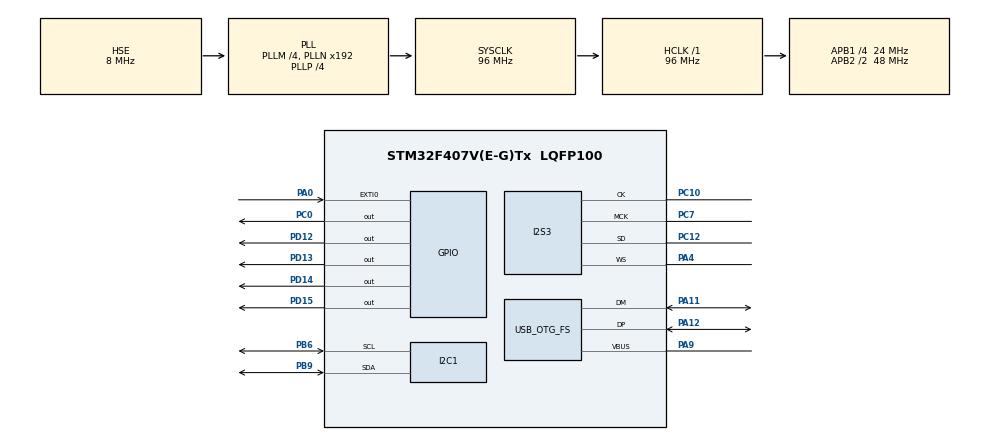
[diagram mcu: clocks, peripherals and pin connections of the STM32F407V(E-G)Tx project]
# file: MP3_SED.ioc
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Dma.Request0=SPI3_TX
Dma.SPI3_TX.0.Direction=DMA_MEMORY_TO_PERIPH
Dma.SPI3_TX.0.FIFOMode=DMA_FIFOMODE_ENABLE
Dma.SPI3_TX.0.FIFOThreshold=DMA_FIFO_THRESHOLD_FULL
Dma.SPI3_TX.0.Instance=DMA1_Stream5
Dma.SPI3_TX.0.MemBurst=DMA_MBURST_SINGLE
Dma.SPI3_TX.0.MemDataAlignment=DMA_MDATAALIGN_HALFWORD
Dma.SPI3_TX.0.MemInc=DMA_MINC_ENABLE
Dma.SPI3_TX.0.Mode=DMA_CIRCULAR
Dma.SPI3_TX.0.PeriphBurst=DMA_PBURST_SINGLE
Dma.SPI3_TX.0.PeriphDataAlignment=DMA_PDATAALIGN_HALFWORD
Dma.SPI3_TX.0.PeriphInc=DMA_PINC_DISABLE
Dma.SPI3_TX.0.Priority=DMA_PRIORITY_LOW
FATFS._USE_LFN=1
I2S3.AudioFreq=I2S_AUDIOFREQ_48K
I2S3.ErrorAudioFreq=0.15 %
I2S3.FullDuplexMode=I2S_FULLDUPLEXMODE_DISABLE
I2S3.Instance=SPI$Index
I2S3.RealAudioFreq=48.076 KHz
I2S3.VirtualMode=I2S_MODE_MASTER
Mcu.Family=STM32F4
Mcu.Name=STM32F407V(E-G)Tx
Mcu.Package=LQFP100
NVIC.DMA1_Stream5_IRQn=true\:0\:0\:false\:false\:true\:false\:true\:true
NVIC.EXTI0_IRQn=true\:0\:0\:false\:false\:true\:true\:true\:true
NVIC.OTG_FS_IRQn=true\:0\:0\:false\:false\:true\:true\:true\:true
NVIC.PriorityGroup=NVIC_PRIORITYGROUP_0
NVIC.TIM2_IRQn=true\:0\:0\:false\:false\:true\:true\:true\:true
PA0-WKUP.GPIO_PuPd=GPIO_PULLDOWN
PA0-WKUP.Signal=GPXTI0
PA11.Mode=Host_Only
PA11.Signal=USB_OTG_FS_DM
PA12.Mode=Host_Only
PA12.Signal=USB_OTG_FS_DP
PA4.Mode=Half_Duplex_Master
PA4.Signal=I2S3_WS
PA9.Mode=Activate_VBUS
PA9.Signal=USB_OTG_FS_VBUS
PB6.Mode=I2C
PB6.Signal=I2C1_SCL
PB9.Mode=I2C
PB9.Signal=I2C1_SDA
PC0.Signal=GPIO_Output
PC10.Mode=Half_Duplex_Master
PC10.Signal=I2S3_CK
PC12.Mode=Half_Duplex_Master
PC12.Signal=I2S3_SD
PC7.Mode=Master_Clock_Activated
PC7.Signal=I2S3_MCK
PD12.Signal=GPIO_Output
PD13.Signal=GPIO_Output
PD14.Signal=GPIO_Output
PD15.Signal=GPIO_Output
PH0-OSC_IN.Mode=HSE-External-Oscillator
PH0-OSC_IN.Signal=RCC_OSC_IN
PH1-OSC_OUT.Mode=HSE-External-Oscillator
PH1-OSC_OUT.Signal=RCC_OSC_OUT
ProjectManager.HeapSize=0x200
ProjectManager.StackSize=0x400
ProjectManager.TargetToolchain=STM32CubeIDE
RCC.48MHZClocksFreq_Value=48000000
RCC.AHBFreq_Value=96000000
RCC.APB1CLKDivider=RCC_HCLK_DIV4
RCC.APB1Freq_Value=24000000
RCC.APB1TimFreq_Value=48000000
RCC.APB2CLKDivider=RCC_HCLK_DIV2
RCC.APB2Freq_Value=48000000
RCC.APB2TimFreq_Value=96000000
RCC.CortexFreq_Value=96000000
RCC.HCLKFreq_Value=96000000
RCC.HSE_VALUE=8000000
RCC.HSI_VALUE=16000000
RCC.LSE_VALUE=32768
RCC.PLLI2SN=160
RCC.PLLM=4
RCC.PLLP=RCC_PLLP_DIV4
RCC.PLLQ=8
RCC.SYSCLKFreq_VALUE=96000000
RCC.SYSCLKSource=RCC_SYSCLKSOURCE_PLLCLK
RCC.VCOOutputFreq_Value=384000000
TIM2.Period=500-1
TIM2.Prescaler=48000
USB_HOST.BSP.number=1
USB_HOST.USBH_HandleTypeDef-MSC_FS=hUsbHostFS
USB_HOST.VirtualModeFS=Msc
USB_HOST0.BSP.STBoard=false
USB_HOST0.BSP.api=Unknown
USB_HOST0.BSP.condition=SW_VBUS_DRIVE_MSC_FS \= false
USB_HOST0.BSP.instance=PC0
USB_HOST0.BSP.ip=GPIO
USB_HOST0.BSP.mode=Output
USB_HOST0.BSP.name=Drive_VBUS_FS
USB_HOST0.BSP.solution=PC0
USB_OTG_FS.VirtualMode=Host_Only
USB_OTG_FS.phy_itface=HCD_PHY_EMBEDDED
VP_FATFS_VS_USB.Mode=USB
VP_TIM2_VS_ClockSourceINT.Mode=Internal
VP_USB_HOST_VS_USB_HOST_MSC_FS.Mode=MSC_FS
board=STM32F407G-DISC1

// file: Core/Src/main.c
/* USER CODE BEGIN Header */
/**
  ******************************************************************************
  * @file           : main.c
  * @brief          : Main program body
  ******************************************************************************
  * @attention
  *
  * Copyright (c) 2025 STMicroelectronics.
  * All rights reserved.
  *
  * This software is licensed under terms that can be found in the LICENSE file
  * in the root directory of this software component.
  * If no LICENSE file comes with this software, it is provided AS-IS.
  *
  ******************************************************************************
  */
/* USER CODE END Header */
#include "main.h"
#include "fatfs.h"
#include "usb_host.h"
#include "File_Handling.h"
#include "waveplayer.h"

I2C_HandleTypeDef hi2c1;

I2S_HandleTypeDef hi2s3;
DMA_HandleTypeDef hdma_spi3_tx;

TIM_HandleTypeDef htim2;

void SystemClock_Config(void);
static void MX_GPIO_Init(void);
static void MX_DMA_Init(void);
static void MX_I2C1_Init(void);
static void MX_I2S3_Init(void);
static void MX_TIM2_Init(void);
void MX_USB_HOST_Process(void);

/* USER CODE BEGIN 0 */

extern ApplicationTypeDef Appli_state; 			/*Declaramos el estado del usb como una vaiable externa ya que viene de usb_host.c*/
extern AUDIO_PLAYBACK_StateTypeDef AudioState;  /*Tambien variable de waveplayer.c que tiene que se tiene que declarar externa*/
uint8_t acabar = 0;								/*Variable que indica si se para la musica*/
uint8_t presionado = 0;							/*Variable que indica si ha sido presionado el boton*/
uint8_t ciclar = 0;								/*Variable que indica si ciclan los leds (ciclar =1)*/
uint32_t contador_leds = 0;						/*Contador para ciclar leds cada x tiempo*/

/*Utilizaremos estos dos callback para implementar la funcionalidad de pausa, siguiente, previa cancion dependiendo de cuantas veces le de el usuario al boton en un plazo de medio segundo*/
void HAL_GPIO_EXTI_Callback(uint16_t GPIO_PIN)
{
	if(GPIO_PIN==GPIO_PIN_0)
	{
		if (presionado==0)							/*Comprueba si es la primera vez que le da al boton en un plazo de medio segundo*/
		{
			presionado = 1;
					__HAL_TIM_SET_COUNTER(&htim2, 0);/*reseteo del timer*/
					HAL_TIM_Base_Start_IT(&htim2);	/*comienzo del timer si es la primer vez que lo pulsa en un plazo de medio segundo*/
		}
		else										/*Si no es la primera vez incrementar el numero de veces pulsadas*/
			++presionado;
	}
}
void HAL_TIM_PeriodElapsedCallback(TIM_HandleTypeDef *htim){
	if (htim->Instance == TIM2) {
		if(presionado==1)								/*Si cuando se acaba el plazo de medio segundo le usuario a pulsado una vez se para la cancio o se resume*/
			{
				if (AudioState==AUDIO_STATE_PLAY){			/*Si estaba en play se para*/
					AudioState = AUDIO_STATE_PAUSE;
					ciclar = 0;

				}
				if (AudioState==AUDIO_STATE_WAIT){			/*Si estaba parado se resume*/
					AudioState = AUDIO_STATE_RESUME;
					ciclar = 1;
				}
			}
			else if(presionado ==2)							/*Si le dio dos veces se pasa a la siguiente cancion*/
			{
				AudioState = AUDIO_STATE_NEXT;
				ciclar = 1;
			}
			else{											/*Si le dio mas de dos veces se pasa a la anterior cancion*/
				AudioState = AUDIO_STATE_PREVIOUS;
				ciclar = 1;
			}
			presionado = 0;									/*reseteo de presionado*/
			HAL_TIM_Base_Stop_IT(&htim2);						/*se para el timer*/
	}
}
/* USER CODE END 0 */

int main(void)
{

  /* MCU Configuration--------------------------------------------------------*/

  /* Reset of all peripherals, Initializes the Flash interface and the Systick. */
  HAL_Init();

  /* Configure the system clock */
  SystemClock_Config();

  /* Initialize all configured peripherals */
  MX_GPIO_Init();
  MX_DMA_Init();
  MX_I2C1_Init();
  MX_I2S3_Init();
  MX_FATFS_Init();
  MX_USB_HOST_Init();
  MX_TIM2_Init();
  /* USER CODE BEGIN 2 */
  HAL_GPIO_WritePin(GPIOD,GPIO_PIN_12,GPIO_PIN_RESET);						/*Init de leds*/
  HAL_GPIO_WritePin(GPIOD,GPIO_PIN_13,GPIO_PIN_RESET);
  HAL_GPIO_WritePin(GPIOD,GPIO_PIN_14,GPIO_PIN_RESET);
  HAL_GPIO_WritePin(GPIOD,GPIO_PIN_15,GPIO_PIN_RESET);
  int i=1;
  uint16_t pin_numero[] = {GPIO_PIN_12,GPIO_PIN_13,GPIO_PIN_14,GPIO_PIN_15}; /*vector de leds*/
  HAL_GPIO_WritePin(GPIOC, GPIO_PIN_0, GPIO_PIN_SET);

  /* USER CODE END 2 */

  /* Infinite loop */
  while (1)
  {
    MX_USB_HOST_Process();

    /* USER CODE BEGIN 3 */
    if (Appli_state==APPLICATION_READY)					/*Comprobamos si el USB esta listo para iniciar comunicacion*/
    {
    	Mount_USB();									/*Iniciamos comunicacion con USB*/
    	AUDIO_PLAYER_Start(0);							/*Comenzar a poner audio desde la primera pista (0)*/
    	ciclar = 1;
    	while (!acabar) 								/*Se repite el bucle mientras no haya acabado la pista*/
    	{
    		AUDIO_PLAYER_Process(TRUE);					/*Con el parametro en true una vez que se acaben las canciones del disco volvera al principio*/
    		contador_leds++;
    		if(AudioState==AUDIO_STATE_STOP)
    			acabar = 1;
    		if ((ciclar==1)&&(contador_leds>=50000)){	/*Comprueba si esta activo ciclar y si ha pasado el tiempo de ciclo*/
    			contador_leds = 0;
    			if (i==3)
    			{
    				HAL_GPIO_WritePin(GPIOD,pin_numero[i],GPIO_PIN_RESET);
    				i = 0;
    				HAL_GPIO_WritePin(GPIOD,pin_numero[i],GPIO_PIN_SET);
    			}
    			else
    			{
    				i++;
    				HAL_GPIO_WritePin(GPIOD,pin_numero[i],GPIO_PIN_SET);
    				HAL_GPIO_WritePin(GPIOD,pin_numero[i-1],GPIO_PIN_RESET);
    			}
    		}
    	}
    }
  }/* USER CODE END 3 */
}

void SystemClock_Config(void)
{
  RCC_OscInitTypeDef RCC_OscInitStruct = {0};
  RCC_ClkInitTypeDef RCC_ClkInitStruct = {0};

  /** Configure the main internal regulator output voltage
  */
  __HAL_RCC_PWR_CLK_ENABLE();
  __HAL_PWR_VOLTAGESCALING_CONFIG(PWR_REGULATOR_VOLTAGE_SCALE1);

  /** Initializes the RCC Oscillators according to the specified parameters
  * in the RCC_OscInitTypeDef structure.
  */
  RCC_OscInitStruct.OscillatorType = RCC_OSCILLATORTYPE_HSE;
  RCC_OscInitStruct.HSEState = RCC_HSE_ON;
  RCC_OscInitStruct.PLL.PLLState = RCC_PLL_ON;
  RCC_OscInitStruct.PLL.PLLSource = RCC_PLLSOURCE_HSE;
  RCC_OscInitStruct.PLL.PLLM = 4;
  RCC_OscInitStruct.PLL.PLLN = 192;
  RCC_OscInitStruct.PLL.PLLP = RCC_PLLP_DIV4;
  RCC_OscInitStruct.PLL.PLLQ = 8;
  if (HAL_RCC_OscConfig(&RCC_OscInitStruct) != HAL_OK)
  {
    Error_Handler();
  }

  /** Initializes the CPU, AHB and APB buses clocks
  */
  RCC_ClkInitStruct.ClockType = RCC_CLOCKTYPE_HCLK|RCC_CLOCKTYPE_SYSCLK
                              |RCC_CLOCKTYPE_PCLK1|RCC_CLOCKTYPE_PCLK2;
  RCC_ClkInitStruct.SYSCLKSource = RCC_SYSCLKSOURCE_PLLCLK;
  RCC_ClkInitStruct.AHBCLKDivider = RCC_SYSCLK_DIV1;
  RCC_ClkInitStruct.APB1CLKDivider = RCC_HCLK_DIV4;
  RCC_ClkInitStruct.APB2CLKDivider = RCC_HCLK_DIV2;

  if (HAL_RCC_ClockConfig(&RCC_ClkInitStruct, FLASH_LATENCY_3) != HAL_OK)
  {
    Error_Handler();
  }
}

static void MX_I2C1_Init(void)
{

  hi2c1.Instance = I2C1;
  hi2c1.Init.ClockSpeed = 100000;
  hi2c1.Init.DutyCycle = I2C_DUTYCYCLE_2;
  hi2c1.Init.OwnAddress1 = 0;
  hi2c1.Init.AddressingMode = I2C_ADDRESSINGMODE_7BIT;
  hi2c1.Init.DualAddressMode = I2C_DUALADDRESS_DISABLE;
  hi2c1.Init.OwnAddress2 = 0;
  hi2c1.Init.GeneralCallMode = I2C_GENERALCALL_DISABLE;
  hi2c1.Init.NoStretchMode = I2C_NOSTRETCH_DISABLE;
  if (HAL_I2C_Init(&hi2c1) != HAL_OK)
  {
    Error_Handler();
  }

}

static void MX_I2S3_Init(void)
{

  hi2s3.Instance = SPI3;
  hi2s3.Init.Mode = I2S_MODE_MASTER_TX;
  hi2s3.Init.Standard = I2S_STANDARD_PHILIPS;
  hi2s3.Init.DataFormat = I2S_DATAFORMAT_16B;
  hi2s3.Init.MCLKOutput = I2S_MCLKOUTPUT_ENABLE;
  hi2s3.Init.AudioFreq = I2S_AUDIOFREQ_48K;
  hi2s3.Init.CPOL = I2S_CPOL_LOW;
  hi2s3.Init.ClockSource = I2S_CLOCK_PLL;
  hi2s3.Init.FullDuplexMode = I2S_FULLDUPLEXMODE_DISABLE;
  if (HAL_I2S_Init(&hi2s3) != HAL_OK)
  {
    Error_Handler();
  }

}

static void MX_TIM2_Init(void)
{

  TIM_ClockConfigTypeDef sClockSourceConfig = {0};
  TIM_MasterConfigTypeDef sMasterConfig = {0};

  htim2.Instance = TIM2;
  htim2.Init.Prescaler = 48000;
  htim2.Init.CounterMode = TIM_COUNTERMODE_UP;
  htim2.Init.Period = 500-1;
  htim2.Init.ClockDivision = TIM_CLOCKDIVISION_DIV1;
  htim2.Init.AutoReloadPreload = TIM_AUTORELOAD_PRELOAD_DISABLE;
  if (HAL_TIM_Base_Init(&htim2) != HAL_OK)
  {
    Error_Handler();
  }
  sClockSourceConfig.ClockSource = TIM_CLOCKSOURCE_INTERNAL;
  if (HAL_TIM_ConfigClockSource(&htim2, &sClockSourceConfig) != HAL_OK)
  {
    Error_Handler();
  }
  sMasterConfig.MasterOutputTrigger = TIM_TRGO_RESET;
  sMasterConfig.MasterSlaveMode = TIM_MASTERSLAVEMODE_DISABLE;
  if (HAL_TIMEx_MasterConfigSynchronization(&htim2, &sMasterConfig) != HAL_OK)
  {
    Error_Handler();
  }

}

static void MX_DMA_Init(void)
{

  /* DMA controller clock enable */
  __HAL_RCC_DMA1_CLK_ENABLE();

  /* DMA interrupt init */
  /* DMA1_Stream5_IRQn interrupt configuration */
  HAL_NVIC_SetPriority(DMA1_Stream5_IRQn, 0, 0);
  HAL_NVIC_EnableIRQ(DMA1_Stream5_IRQn);

}

static void MX_GPIO_Init(void)
{
  GPIO_InitTypeDef GPIO_InitStruct = {0};

  /* GPIO Ports Clock Enable */
  __HAL_RCC_GPIOH_CLK_ENABLE();
  __HAL_RCC_GPIOC_CLK_ENABLE();
  __HAL_RCC_GPIOA_CLK_ENABLE();
  __HAL_RCC_GPIOD_CLK_ENABLE();
  __HAL_RCC_GPIOB_CLK_ENABLE();

  /*Configure GPIO pin Output Level */
  HAL_GPIO_WritePin(GPIOC, GPIO_PIN_0, GPIO_PIN_RESET);

  /*Configure GPIO pin Output Level */
  HAL_GPIO_WritePin(GPIOD, GPIO_PIN_12|GPIO_PIN_13|GPIO_PIN_14|GPIO_PIN_15, GPIO_PIN_RESET);

  /*Configure GPIO pin : PC0 */
  GPIO_InitStruct.Pin = GPIO_PIN_0;
  GPIO_InitStruct.Mode = GPIO_MODE_OUTPUT_PP;
  GPIO_InitStruct.Pull = GPIO_NOPULL;
  GPIO_InitStruct.Speed = GPIO_SPEED_FREQ_LOW;
  HAL_GPIO_Init(GPIOC, &GPIO_InitStruct);

  /*Configure GPIO pin : PA0 */
  GPIO_InitStruct.Pin = GPIO_PIN_0;
  GPIO_InitStruct.Mode = GPIO_MODE_IT_RISING;
  GPIO_InitStruct.Pull = GPIO_PULLDOWN;
  HAL_GPIO_Init(GPIOA, &GPIO_InitStruct);

  /*Configure GPIO pins : PD12 PD13 PD14 PD15 */
  GPIO_InitStruct.Pin = GPIO_PIN_12|GPIO_PIN_13|GPIO_PIN_14|GPIO_PIN_15;
  GPIO_InitStruct.Mode = GPIO_MODE_OUTPUT_PP;
  GPIO_InitStruct.Pull = GPIO_NOPULL;
  GPIO_InitStruct.Speed = GPIO_SPEED_FREQ_LOW;
  HAL_GPIO_Init(GPIOD, &GPIO_InitStruct);

  /* EXTI interrupt init*/
  HAL_NVIC_SetPriority(EXTI0_IRQn, 0, 0);
  HAL_NVIC_EnableIRQ(EXTI0_IRQn);

}

void Error_Handler(void)
{
  __disable_irq();
  while (1)
  {
  }
}
